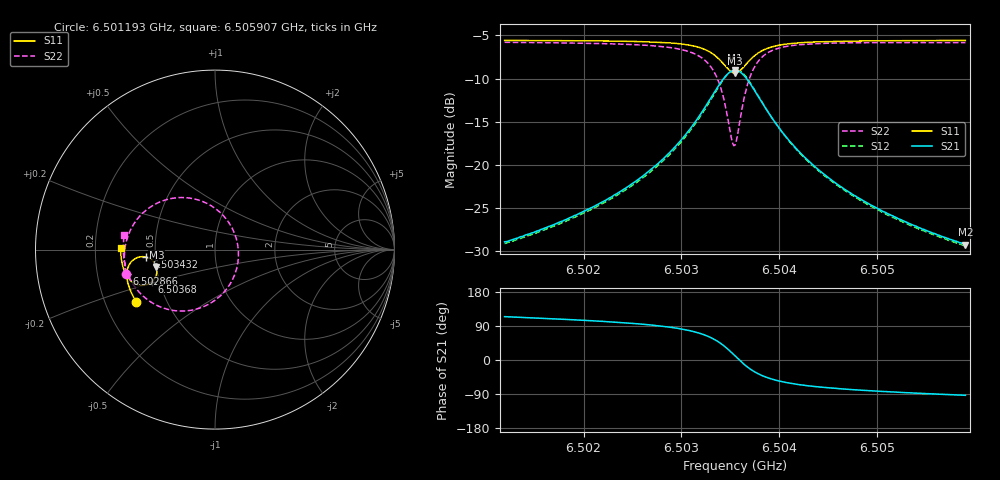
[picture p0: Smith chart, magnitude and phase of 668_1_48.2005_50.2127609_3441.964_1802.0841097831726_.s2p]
#  HZ  S  RI  R  50.00
! Rohde & Schwarz Vector Network Analyzer
! Rohde-Schwarz,ZNB20-2Port,1311601062101988,3.16
! Created: UTC 3/20/2024, 12:06:00 PM
! freq[Hz]  re:S11  im:S11  re:S21  im:S21  re:S12  im:S12  re:S22  im:S22
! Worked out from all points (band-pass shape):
!   401 points, 6.501193 GHz to 6.505907 GHz, reference 50 ohm
!   highest |S21| = -9.03 dB at 6.50355 GHz (marker M1); lowest = -29.2 dB at 6.505907 GHz (marker M2)
!   |S21| within 3 dB of the highest: 6.503315 GHz to 6.503786 GHz (471.3 kHz wide, 0.00725 % of centre)
!   lowest |S11| = -9.3 dB at 6.50355 GHz (marker M3), VSWR 2.03, Z = 25 - j5.46 ohm
!   |S11| at or under -10 dB: nowhere
!   |S22| runs from -17.8 to -5.8 dB; largest |S21 - S12| = 0.014
!   S11 on the Smith chart (normalised r, x): 6.501193 GHz: 0.34, -0.27; 6.502866 GHz: 0.33, -0.12; 6.503432 GHz: 0.45, -0.04; 6.50368 GHz: 0.46, -0.19; 6.505907 GHz: 0.31, +0.01
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6.5011925e9  -0.438 -0.2913  -0.0148 0.0326  -0.0127 0.0326  -0.4957 -0.1337
6.5019822e9  -0.4701 -0.231  -0.0137 0.0513  -0.011 0.0508  -0.5052 -0.046
6.5024301e9  -0.4845 -0.1895  -0.0101 0.0726  -0.00676 0.0713  -0.4992 0.022
6.502772e9  -0.4913 -0.1495  -0.000241 0.1029  0.00396 0.1004  -0.4772 0.0961
6.5028663e9  -0.4915 -0.136  0.00569 0.1158  0.00996 0.1123  -0.4643 0.123
6.5030666e9  -0.4857 -0.1014  0.0308 0.1522  0.035 0.1473  -0.4122 0.1939
6.5032081e9  -0.469 -0.071  0.0723 0.1873  0.0758 0.1806  -0.3317 0.254
6.5033377e9  -0.4312 -0.0442  0.1528 0.2137  0.1541 0.2065  -0.1858 0.2901
6.503432e9  -0.3825 -0.0422  0.2478 0.1959  0.2485 0.1902  -0.0212 0.2444
6.5035146e9  -0.338 -0.0733  0.329 0.1177  0.3318 0.1122  0.109 0.0901
6.5035499e9  -0.3269 -0.0967  0.3471 0.0668  0.3512 0.0598  0.1302 -0.00591
6.5035735e9  -0.3239 -0.1138  0.3506 0.0307  0.3549 0.0222  0.1275 -0.0721
6.5036089e9  -0.3263 -0.1389  0.3425 -0.0218  0.3464 -0.0324  0.0986 -0.1653
6.5036796e9  -0.3497 -0.1778  0.2934 -0.1011  0.293 -0.1145  -0.0174 -0.2939
6.5037267e9  -0.3712 -0.1919  0.2513 -0.1308  0.2477 -0.144  -0.1055 -0.332
6.5037857e9  -0.3974 -0.199  0.2022 -0.1478  0.1959 -0.1589  -0.2022 -0.3421
6.5039389e9  -0.4462 -0.1895  0.1147 -0.143  0.1065 -0.149  -0.3595 -0.2907
6.5041039e9  -0.4747 -0.1678  0.0673 -0.1208  0.0601 -0.1236  -0.4358 -0.2216
6.5043396e9  -0.496 -0.1381  0.0356 -0.0943  0.0302 -0.095  -0.4813 -0.1459
6.5046697e9  -0.5108 -0.1019  0.0166 -0.0705  0.0127 -0.0701  -0.5038 -0.0734
6.5051294e9  -0.5209 -0.058  0.00552 -0.0514  0.00279 -0.0506  -0.5112 -0.00326
6.5059073e9  -0.5259 0.00887  -0.00193 -0.0345  -0.00352 -0.0336  -0.5046 0.0829
